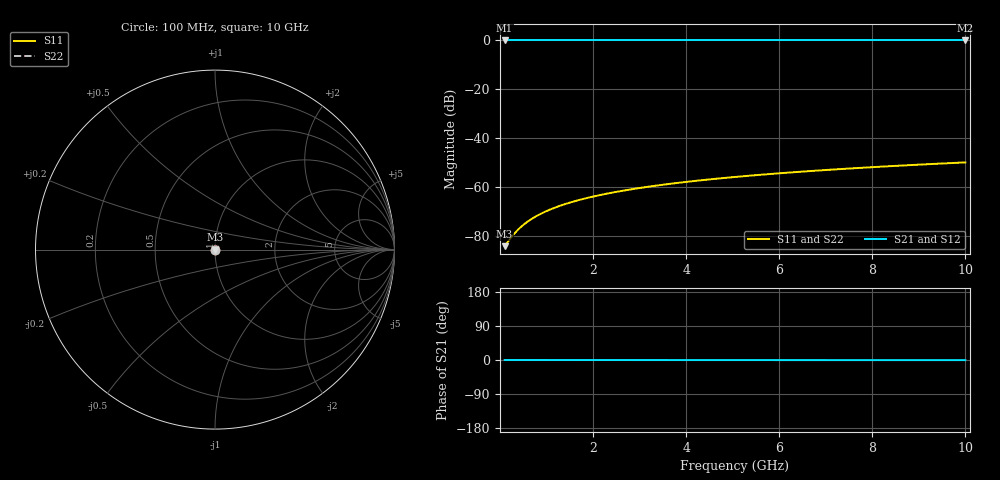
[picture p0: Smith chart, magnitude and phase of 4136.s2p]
# Hz S RI R 50.00
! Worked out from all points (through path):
!   100 points, 100 MHz to 10 GHz, reference 50 ohm
!   highest |S21| = 0.00 dB at 100 MHz (marker M1); lowest = 0.0 dB at 10 GHz (marker M2)
!   lowest |S11| = -84.1 dB at 100 MHz (marker M3), VSWR 1.00, Z = 50 + j0.0032 ohm
!   |S11| at or under -10 dB: start of sweep to end of sweep
!   |S22| runs from -84.1 to -49.9 dB; largest |S21 - S12| = 0
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1e8  5.33e-05 3.2e-05  0.9999 -6.32e-05  0.9999 -6.32e-05  5.33e-05 3.2e-05
2e8  5.37e-05 6.39e-05  0.9999 -0.000126  0.9999 -0.000126  5.37e-05 6.39e-05
3e8  5.4e-05 9.59e-05  0.9999 -0.00019  0.9999 -0.00019  5.4e-05 9.59e-05
4e8  5.42e-05 0.000128  0.9999 -0.000253  0.9999 -0.000253  5.42e-05 0.000128
5e8  5.44e-05 0.00016  0.9999 -0.000316  0.9999 -0.000316  5.44e-05 0.00016
6e8  5.45e-05 0.000192  0.9999 -0.000379  0.9999 -0.000379  5.45e-05 0.000192
7e8  5.47e-05 0.000224  0.9999 -0.000443  0.9999 -0.000443  5.47e-05 0.000224
9e8  5.5e-05 0.000288  0.9999 -0.000569  0.9999 -0.000569  5.5e-05 0.000288
1.1e9  5.53e-05 0.000352  0.9999 -0.000696  0.9999 -0.000696  5.53e-05 0.000352
1.3e9  5.56e-05 0.000416  0.9999 -0.000822  0.9999 -0.000822  5.56e-05 0.000416
1.5e9  5.58e-05 0.00048  0.9999 -0.000949  0.9999 -0.000949  5.58e-05 0.00048
1.8e9  5.63e-05 0.000576  0.9999 -0.00114  0.9999 -0.00114  5.63e-05 0.000576
2.1e9  5.67e-05 0.000671  0.9999 -0.00133  0.9999 -0.00133  5.67e-05 0.000671
2.5e9  5.73e-05 0.000799  0.9999 -0.00158  0.9999 -0.00158  5.73e-05 0.000799
2.9e9  5.8e-05 0.000927  0.9999 -0.00184  0.9999 -0.00184  5.8e-05 0.000927
3.4e9  5.89e-05 0.00109  0.9999 -0.00215  0.9999 -0.00215  5.89e-05 0.00109
4.2e9  6.05e-05 0.00134  0.9999 -0.00266  0.9999 -0.00266  6.05e-05 0.00134
5.1e9  6.26e-05 0.00163  0.9999 -0.00323  0.9999 -0.00323  6.26e-05 0.00163
5.9e9  6.47e-05 0.00189  0.9999 -0.00374  0.9999 -0.00374  6.47e-05 0.00189
6.7e9  6.71e-05 0.00215  0.9999 -0.00425  0.9999 -0.00425  6.71e-05 0.00215
8.4e9  7.31e-05 0.00269  0.9999 -0.00533  0.9999 -0.00533  7.31e-05 0.00269
1e10  7.98e-05 0.00321  0.9999 -0.00635  0.9999 -0.00635  7.98e-05 0.00321
